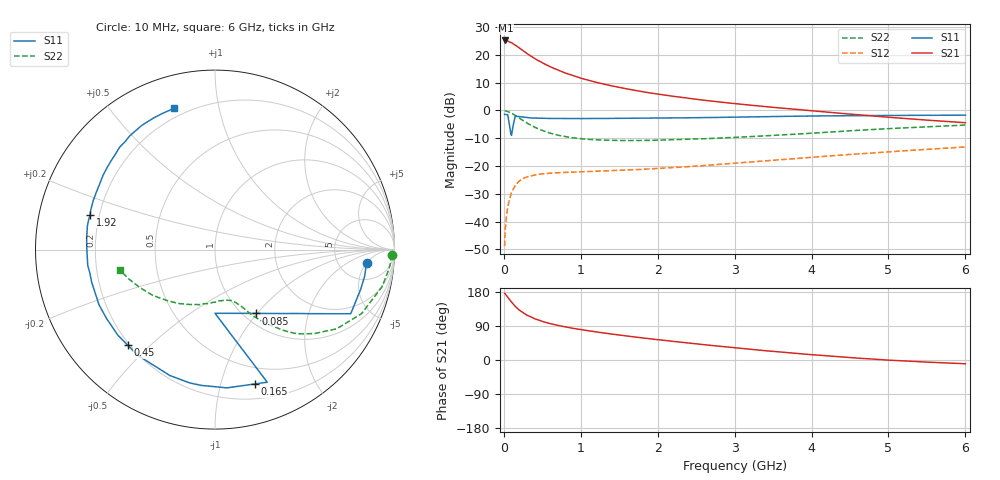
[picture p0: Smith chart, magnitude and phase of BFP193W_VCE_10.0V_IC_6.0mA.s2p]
! Infineon Technologies  Discrete & RF Semiconductors
! BFP193W
! VCE = 10.0V,  IC =  6.0 mA
! Common Emitter S-Parameters:  Jan 2016
# GHz  S  MA  R  50
!  f  S11  S21  S12  S22
! GHz  MAG  ANG  MAG  ANG  MAG  ANG  MAG  ANG
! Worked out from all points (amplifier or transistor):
!   210 points, 10 MHz to 6 GHz, reference 50 ohm
!   highest |S21| = 25.1 dB at 20 MHz (marker M1)
!   |S21| within 3 dB of that: start of sweep to 215.6 MHz
!   unconditionally stable (mu >= 1): 1.677 GHz to 4.48 GHz
!   at 185 MHz: K = 0.16, MSG = 24.3 dB, |S12| = -25.9 dB
!   at 1.52 GHz: K = 0.95, MSG = 14.9 dB, |S12| = -21.6 dB
!   at 6 GHz: K = 0.92, MSG = 4.4 dB, |S12| = -13.2 dB
!   S11 on the Smith chart (normalised r, x): 10 MHz: 10, -5; 85 MHz: 1.13, -0.98; 165 MHz: 0.34, -1.29; 450 MHz: 0.19, -0.43; 1.92 GHz: 0.16, +0.13; 6 GHz: 0.15, +0.74
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0.01  0.8476 -4.9  18.04 176.0  0.0036 84.2  0.984 -1.7
0.02  0.8469 -10.2  18.08 174.0  0.0076 80.6  0.979 -5.2
0.05  0.8364 -25.3  17.66 165.6  0.0179 76.4  0.953 -12.6
0.085  0.4218 -57.5  16.71 156.7  0.0285 67.5  0.9061 -20.1
0.105  0.3943 -85.8  16.26 151.5  0.0342 64.2  0.8819 -24.5
0.15  0.7941 -68.5  14.9 141.0  0.0449 55.9  0.8083 -33.1
0.165  0.781 -73.4  14.37 138.5  0.0474 53.5  0.7824 -35.0
0.2  0.7732 -85.1  13.27 131.8  0.0534 48.9  0.7258 -40.1
0.3  0.7453 -109.7  10.51 118.3  0.0635 38.7  0.5888 -49.8
0.4  0.7294 -126.2  8.543 108.9  0.0689 32.9  0.4965 -55.7
0.45  0.7212 -132.3  7.822 105.6  0.0704 31.1  0.4645 -57.5
0.5  0.7213 -138.5  7.132 101.6  0.072 29.4  0.4331 -59.6
0.6  0.7159 -147.4  6.085 96.0  0.0741 27.0  0.3888 -62.4
0.7  0.7157 -154.5  5.324 91.4  0.0754 25.7  0.3571 -64.3
1.02  0.7101 -170.0  3.728 79.7  0.0785 24.8  0.3067 -70.5
1.4  0.7157 177.5  2.761 68.5  0.082 26.6  0.2891 -77.1
1.92  0.7226 164.3  2.038 55.5  0.0885 31.2  0.2888 -87.0
2.02  0.7267 162.1  1.944 53.2  0.0902 32.1  0.2919 -89.0
3.1  0.7573 141.4  1.281 30.5  0.1147 39.2  0.3311 -112.5
4.1  0.7934 125.6  0.954 12.6  0.1468 40.6  0.3952 -135.0
5.1  0.8098 114.1  0.734 -1.3  0.1832 38.4  0.4759 -154.9
6  0.8192 106.1  0.599 -10.0  0.2194 35.1  0.5435 -168.1
